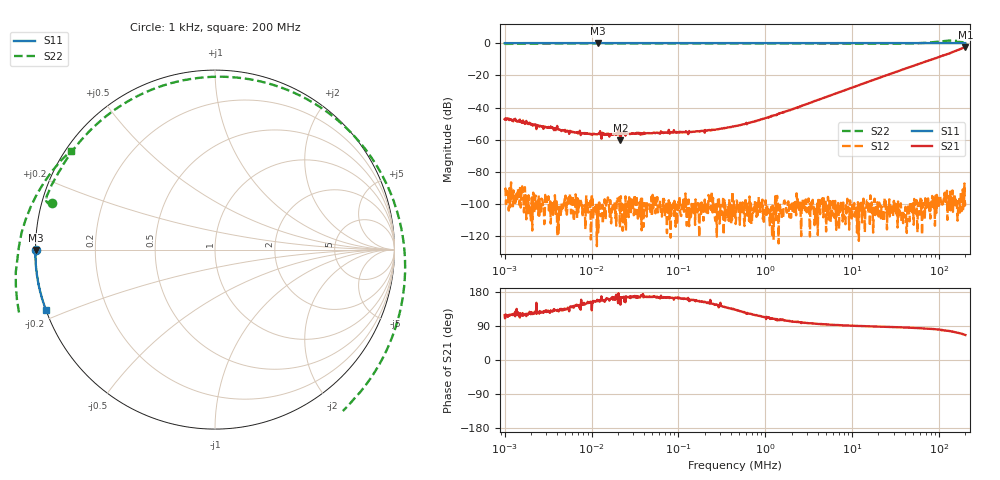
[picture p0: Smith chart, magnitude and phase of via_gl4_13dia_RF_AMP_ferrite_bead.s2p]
! ListType=Log
# MHZ S RI R 50
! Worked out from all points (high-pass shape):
!   1000 points, 1 kHz to 200 MHz, reference 50 ohm
!   highest |S21| = -2.35 dB at 200 MHz (marker M1); lowest = -60.2 dB at 21.47 kHz (marker M2)
!   |S21| within 3 dB of the highest: 145.7 MHz to end of sweep
!   lowest |S11| = 0.0 dB at 11.95 kHz (marker M3), VSWR 976.30, Z = 0.0512 - j0.0467 ohm
!   |S11| at or under -10 dB: nowhere
!   |S22| runs from -0.5 to 1.7 dB; largest |S21 - S12| = 0.76
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0.001  -0.9986 -0.000432  -0.00206 0.00385  -1.15e-05 -2.99e-05  -0.9089 0.26
0.0076941  -1 -0.000277  -0.00135 0.000892  -2.1e-06 8.4e-06  -0.9422 0.2759
0.011945  -0.998 -0.00186  -0.00141 0.000574  -1.2e-06 6e-07  -0.9435 0.2782
0.0214729  -1.001 -0.000117  -0.000807 0.000545  -8.2e-06 -1.37e-05  -0.9423 0.2839
0.0584804  -1 -6.51e-05  -0.00156 0.000396  1.1e-06 -7.5e-06  -0.9406 0.2882
0.1889811  -1 -0.000409  -0.00168 0.000843  -5.2e-06 -4.5e-06  -0.9389 0.2932
0.4499541  -1 -0.000948  -0.00181 0.00196  1.8e-06 7.1e-06  -0.9349 0.303
3.419952  -1.001 -0.00637  -0.00166 0.0147  -1.8e-06 -7.2e-06  -0.8867 0.4028
12.03851  -1.001 -0.0218  0.000232 0.0495  -7.5e-06 -3e-07  -0.7122 0.6466
26.31347  -1 -0.047  0.00512 0.1066  3.6e-06 -3.5e-06  -0.3118 0.9064
38.43037  -0.9994 -0.0683  0.0109 0.153  1.2e-06 -2.3e-06  0.0882 0.9611
50.9003  -0.9979 -0.09  0.0184 0.1981  -1e-07 -2.3e-06  0.4925 0.8486
64.99008  -0.9956 -0.1144  0.0287 0.2484  6e-06 -3.9e-06  0.8567 0.5339
81.97236  -0.9918 -0.1438  0.0435 0.3062  5.3e-06 -7.1e-06  1.057 -0.0223
92.62555  -0.989 -0.162  0.056 0.3429  -3.4e-06 -4.1e-06  1.016 -0.4025
103.3922  -0.9857 -0.1804  0.0691 0.3825  -9.6e-06 -1.12e-05  0.8402 -0.7545
116.8291  -0.9813 -0.2031  0.0907 0.4217  1.25e-05 -4.9e-06  0.4616 -1.075
128.8255  -0.9766 -0.2231  0.1079 0.4581  -1.25e-05 -1.01e-05  0.0311 -1.195
145.5678  -0.969 -0.2514  0.1449 0.5197  5.8e-06 -1.22e-05  -0.5687 -1.06
164.4859  -0.9606 -0.2821  0.1931 0.5814  4.6e-06 -3.3e-06  -1.028 -0.5582
179.1732  -0.9525 -0.3052  0.2327 0.63  -1.87e-05 -8.8e-06  -1.102 -0.0581
200  -0.9407 -0.3388  0.3098 0.6971  -1.29e-05 -6.6e-06  -0.8026 0.5506
